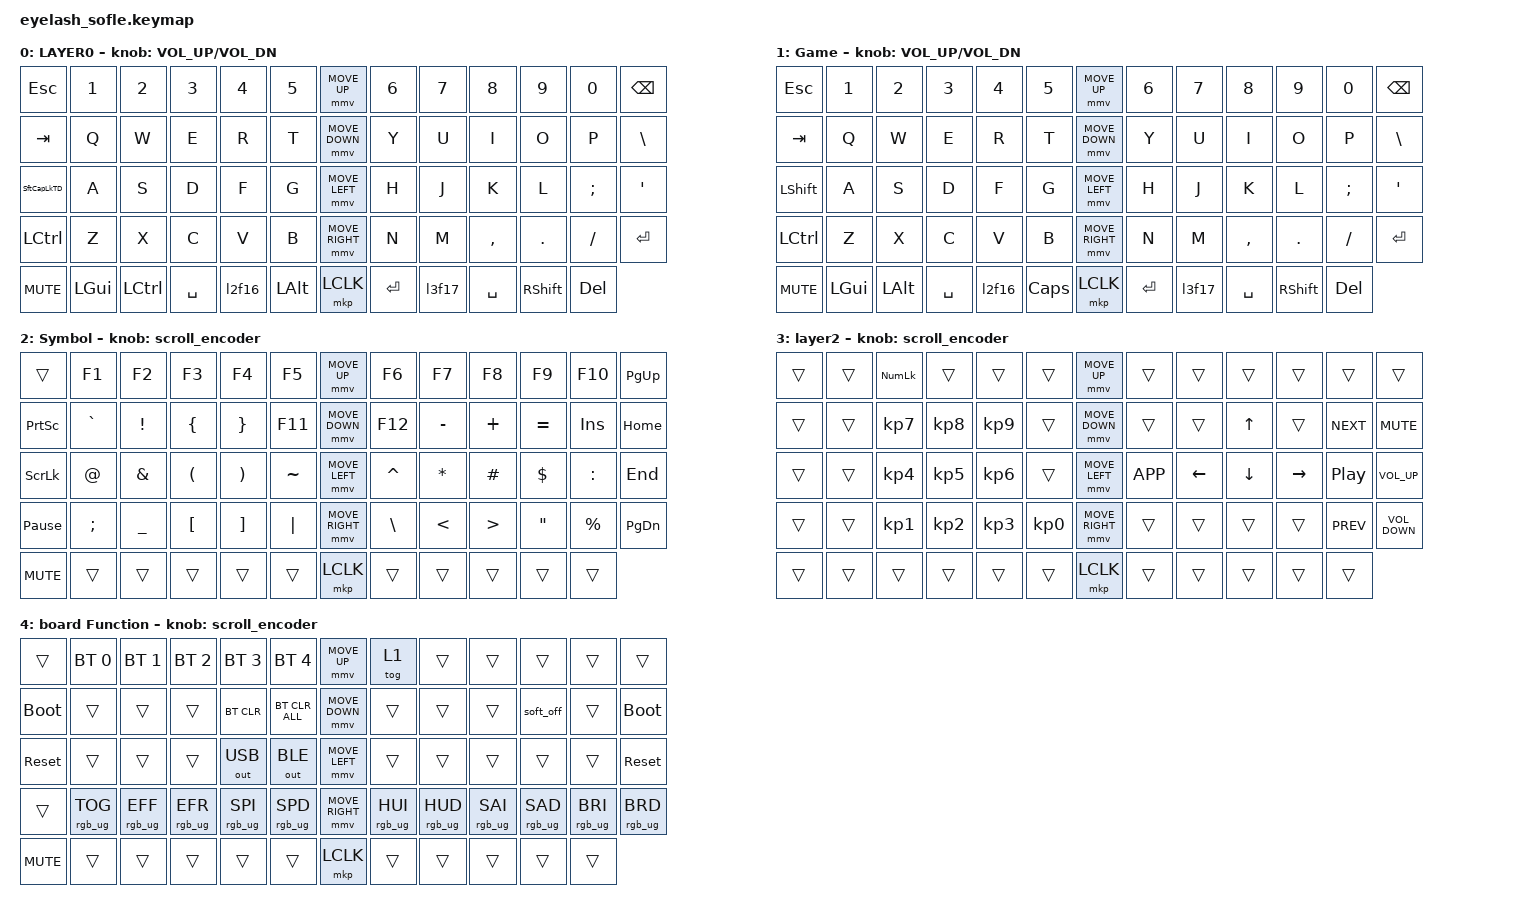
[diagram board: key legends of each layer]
#define ZMK_POINTING_DEFAULT_MOVE_VAL 1200  // 600
#define ZMK_POINTING_DEFAULT_SCRL_VAL 25   // 10

#include <input/processors.dtsi>
#include <zephyr/dt-bindings/input/input-event-codes.h>
#include <behaviors.dtsi>
#include <dt-bindings/zmk/bt.h>
#include <dt-bindings/zmk/keys.h>
#include <dt-bindings/zmk/outputs.h>
#include <dt-bindings/zmk/pointing.h>
#include <dt-bindings/zmk/rgb.h>

&mmv_input_listener { input-processors = <&zip_xy_scaler 2 1>; };

&msc_input_listener { input-processors = <&zip_scroll_scaler 2 1>; };

&msc {
    acceleration-exponent = <1>;      // 0
    time-to-max-speed-ms = <100>;       // 300
    delay-ms = <0>;                   // 0
};

&mmv {
    time-to-max-speed-ms = <500>;
    acceleration-exponent = <1>;
    trigger-period-ms = <16>;
};

&soft_off { hold-time-ms = <2000>; };

/ {
    scroll_encoder: scroll_encoder {
        compatible = "zmk,behavior-sensor-rotate";
        #sensor-binding-cells = <0>;
        bindings = <&msc SCRL_DOWN>, <&msc SCRL_UP>;

        tap-ms = <100>;
    };

    SftCapLkTD: ShiftCapLockTapDance {
        compatible = "zmk,behavior-tap-dance";
        label = "SFTCLKTD";
        #binding-cells = <0>;
        bindings = <&kp LEFT_SHIFT>, <&kp CAPS>;
    };

    behaviors {
    };

    combos {
        compatible = "zmk,combos";

        softoff {
            bindings = <&soft_off>;
            key-positions = <14 28 40>;
        };
    };

    macros {
        SHIFT_MCLK: SHIFT_MCLK {
            compatible = "zmk,behavior-macro";
            #binding-cells = <0>;
            bindings =
                <&macro_press>,
                <&kp LEFT_SHIFT>,
                <&macro_press>,
                <&mkp MB3>,
                <&macro_pause_for_release>,
                <&macro_release>,
                <&kp LEFT_SHIFT &mkp MB3>;

            label = "SHIFT_MCLK";
        };

        l2f16: Layer2wf16 {
            compatible = "zmk,behavior-macro";
            #binding-cells = <0>;
            bindings =
                <&macro_press>,
                <&mo 2>,
                <&macro_press>,
                <&kp F16>,
                <&macro_pause_for_release>,
                <&macro_release>,
                <&mo 2>,
                <&macro_release>,
                <&kp F16>;

            label = "Layer2wf16";
        };

        l3f17: layer3wf17 {
            compatible = "zmk,behavior-macro";
            #binding-cells = <0>;
            bindings =
                <&macro_press>,
                <&mo 3>,
                <&macro_press>,
                <&kp F17>,
                <&macro_pause_for_release>,
                <&macro_release>,
                <&mo 3>,
                <&macro_release>,
                <&kp F17>;

            label = "LAYER3WF17";
        };
    };

    keymap {
        compatible = "zmk,keymap";

        layer0 {
            bindings = <
&kp ESC      &kp N1        &kp N2     &kp N3     &kp N4  &kp N5          &mmv MOVE_UP     &kp N6   &kp N7  &kp N8     &kp N9           &kp N0      &kp BACKSPACE
&kp TAB      &kp Q         &kp W      &kp E      &kp R   &kp T           &mmv MOVE_DOWN   &kp Y    &kp U   &kp I      &kp O            &kp P       &kp BSLH
&SftCapLkTD  &kp A         &kp S      &kp D      &kp F   &kp G           &mmv MOVE_LEFT   &kp H    &kp J   &kp K      &kp L            &kp SEMI    &kp APOS
&kp LCTRL    &kp Z         &kp X      &kp C      &kp V   &kp B           &mmv MOVE_RIGHT  &kp N    &kp M   &kp COMMA  &kp DOT          &kp FSLH    &kp ENTER
&kp C_MUTE   &kp LEFT_GUI  &kp LCTRL  &kp SPACE  &l2f16  &kp LEFT_ALT    &mkp LCLK        &kp RET  &l3f17  &kp SPACE  &kp RIGHT_SHIFT  &kp DELETE
            >;

            sensor-bindings = <&inc_dec_kp C_VOLUME_UP C_VOL_DN>;
            display-name = "LAYER0";
        };

        layer_5 {
            display-name = "Game";
            bindings = <
&kp ESC     &kp N1        &kp N2        &kp N3     &kp N4  &kp N5      &mmv MOVE_UP     &kp N6   &kp N7  &kp N8     &kp N9           &kp N0      &kp BACKSPACE
&kp TAB     &kp Q         &kp W         &kp E      &kp R   &kp T       &mmv MOVE_DOWN   &kp Y    &kp U   &kp I      &kp O            &kp P       &kp BSLH
&kp LSHIFT  &kp A         &kp S         &kp D      &kp F   &kp G       &mmv MOVE_LEFT   &kp H    &kp J   &kp K      &kp L            &kp SEMI    &kp APOS
&kp LCTRL   &kp Z         &kp X         &kp C      &kp V   &kp B       &mmv MOVE_RIGHT  &kp N    &kp M   &kp COMMA  &kp DOT          &kp FSLH    &kp ENTER
&kp C_MUTE  &kp LEFT_GUI  &kp LEFT_ALT  &kp SPACE  &l2f16  &kp CAPS    &mkp LCLK        &kp RET  &l3f17  &kp SPACE  &kp RIGHT_SHIFT  &kp DELETE
            >;

            sensor-bindings = <&inc_dec_kp C_VOLUME_UP C_VOL_DN>;
        };

        layer_1 {
            bindings = <
&trans           &kp F1       &kp F2           &kp F3                &kp F4                 &kp F5       &mmv MOVE_UP     &kp F6     &kp F7     &kp F8    &kp F9     &kp F10      &kp PAGE_UP
&kp PRINTSCREEN  &kp GRAVE    &kp EXCLAMATION  &kp LEFT_BRACE        &kp RIGHT_BRACE        &kp F11      &mmv MOVE_DOWN   &kp F12    &kp MINUS  &kp PLUS  &kp EQUAL  &kp INS      &kp HOME
&kp SCROLLLOCK   &kp AT_SIGN  &kp AMPERSAND    &kp LEFT_PARENTHESIS  &kp RIGHT_PARENTHESIS  &kp TILDE    &mmv MOVE_LEFT   &kp CARET  &kp ASTRK  &kp HASH  &kp DLLR   &kp COLON    &kp END
&kp PAUSE_BREAK  &kp SEMI     &kp UNDERSCORE   &kp LEFT_BRACKET      &kp RIGHT_BRACKET      &kp PIPE     &mmv MOVE_RIGHT  &kp BSLH   &kp LT     &kp GT    &kp DQT    &kp PERCENT  &kp PAGE_DOWN
&kp C_MUTE       &trans       &trans           &trans                &trans                 &trans       &mkp LCLK        &trans     &trans     &trans    &trans     &trans
            >;

            display-name = "Symbol";
            sensor-bindings = <&scroll_encoder>;
        };

        layer_2 {
            bindings = <
&trans  &trans  &kp KP_NUMLOCK   &trans           &trans           &trans             &mmv MOVE_UP     &trans     &trans    &trans    &trans     &trans      &trans
&trans  &trans  &kp KP_NUMBER_7  &kp KP_NUMBER_8  &kp KP_N9        &trans             &mmv MOVE_DOWN   &trans     &trans    &kp UP    &trans     &kp C_NEXT  &kp C_MUTE
&trans  &trans  &kp KP_N4        &kp KP_N5        &kp KP_NUMBER_6  &trans             &mmv MOVE_LEFT   &kp K_APP  &kp LEFT  &kp DOWN  &kp RIGHT  &kp C_PP    &kp C_VOLUME_UP
&trans  &trans  &kp KP_NUMBER_1  &kp KP_NUMBER_2  &kp KP_NUMBER_3  &kp KP_NUMBER_0    &mmv MOVE_RIGHT  &trans     &trans    &trans    &trans     &kp C_PREV  &kp C_VOLUME_DOWN
&trans  &trans  &trans           &trans           &trans           &trans             &mkp LCLK        &trans     &trans    &trans    &trans     &trans
            >;

            display-name = "layer2";
            sensor-bindings = <&scroll_encoder>;
        };

        layer_3 {
            display-name = "board Function";
            bindings = <
&trans       &bt BT_SEL 0     &bt BT_SEL 1     &bt BT_SEL 2     &bt BT_SEL 3     &bt BT_SEL 4       &mmv MOVE_UP     &tog 1           &trans           &trans           &trans           &trans           &trans
&bootloader  &trans           &trans           &trans           &bt BT_CLR       &bt BT_CLR_ALL     &mmv MOVE_DOWN   &trans           &trans           &trans           &soft_off        &trans           &bootloader
&sys_reset   &trans           &trans           &trans           &out OUT_USB     &out OUT_BLE       &mmv MOVE_LEFT   &trans           &trans           &trans           &trans           &trans           &sys_reset
&trans       &rgb_ug RGB_TOG  &rgb_ug RGB_EFF  &rgb_ug RGB_EFR  &rgb_ug RGB_SPI  &rgb_ug RGB_SPD    &mmv MOVE_RIGHT  &rgb_ug RGB_HUI  &rgb_ug RGB_HUD  &rgb_ug RGB_SAI  &rgb_ug RGB_SAD  &rgb_ug RGB_BRI  &rgb_ug RGB_BRD
&kp C_MUTE   &trans           &trans           &trans           &trans           &trans             &mkp LCLK        &trans           &trans           &trans           &trans           &trans
            >;

            sensor-bindings = <&scroll_encoder>;
        };
    };

    conditional_layers {
        compatible = "zmk,conditional-layers";

        BoardFunctionLayer {
            if-layers = <2 3>;
            then-layer = <4>;
        };
    };
};
